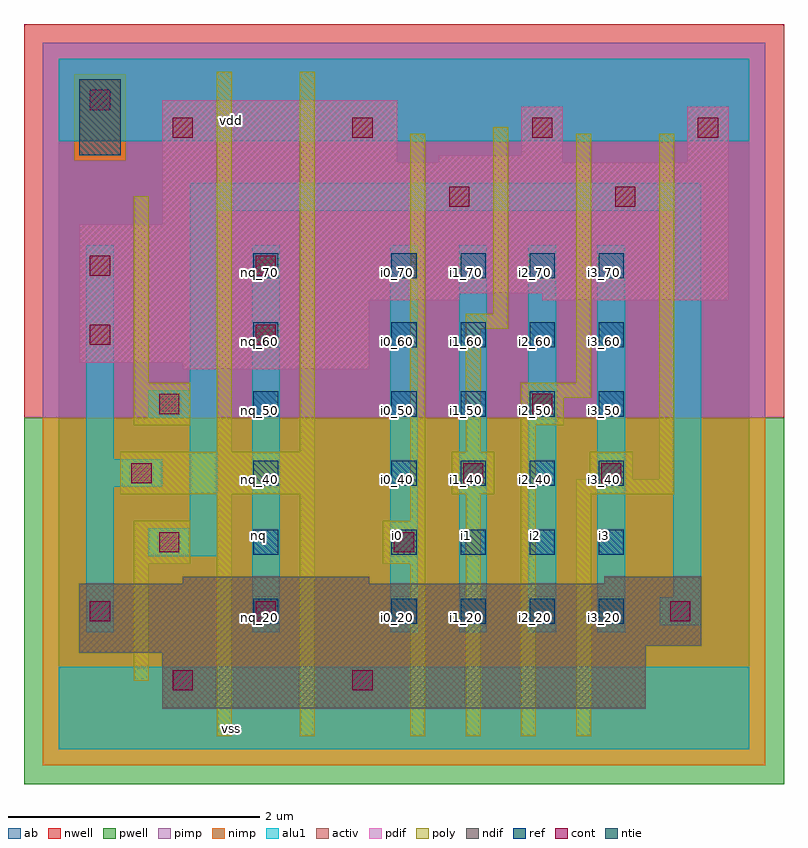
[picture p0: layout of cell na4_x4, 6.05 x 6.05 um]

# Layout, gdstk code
import gdstk
lib = gdstk.Library(unit=1e-6, precision=2.5e-09)
def R(c, l, rs):  # rectangles x0, y0, x1, y1
    for r in rs: c.add(gdstk.rectangle(r[:2], r[2:], *l))
def A(c, l, x, y, w, h, nx, ny, dx, dy):  # array of equal rectangles
    R(c, l, [(x+i*dx, y+j*dy, x+i*dx+w, y+j*dy+h) for i in range(nx) for j in range(ny)])
ndif = (3, 0)
pdif = (4, 0)
ntie = (5, 0)
ref = (24, 0)
cont = (25, 0)
pwell = (41, 0)
nwell = (42, 0)
activ = (43, 0)
pimp = (44, 0)
nimp = (45, 0)
poly = (46, 0)
alu1 = (49, 0)
ab = (63, 0)

na4_x4 = lib.new_cell('na4_x4')
R(na4_x4, ndif, [(0.825,0.33,4.675,0.77), (0.165,0.77,4.675,0.825), (0.165,0.825,5.115,1.32), (0.99,1.32,2.475,1.375), (4.345,1.32,5.115,1.375)])
R(na4_x4, pdif, [(0.99,3.025,2.475,3.08), (0.165,3.08,2.475,3.575), (0.165,3.575,3.19,3.63), (3.85,3.575,5.335,3.63), (0.165,3.63,5.335,4.18), (0.825,4.18,5.335,4.675), (0.825,4.675,2.695,5.17), (3.025,4.675,4.015,4.73), (5.005,4.675,5.335,5.115), (3.685,4.73,4.015,5.115)])
R(na4_x4, ntie, [(0.165,4.73,0.495,5.335)])
A(na4_x4, ref, 1.55, 1, 0.2, 0.2, 1, 6, 0, 0.55)
A(na4_x4, ref, 2.65, 1, 0.2, 0.2, 4, 6, 0.55, 0.55)
A(na4_x4, cont, 0.91, 4.87, 0.16, 0.16, 3, 1, 1.43, 0)
R(na4_x4, cont, [(0.91,0.47,1.07,0.63), (2.34,0.47,2.5,0.63), (0.25,1.02,0.41,1.18), (1.57,1.02,1.73,1.18), (4.87,1.02,5.03,1.18), (0.8,1.57,0.96,1.73), (2.67,1.57,2.83,1.73), (0.58,2.12,0.74,2.28), (3.22,2.12,3.38,2.28), (4.32,2.12,4.48,2.28), (0.8,2.67,0.96,2.83), (3.77,2.67,3.93,2.83), (0.25,3.22,0.41,3.38), (1.57,3.22,1.73,3.38), (0.25,3.77,0.41,3.93), (1.57,3.77,1.73,3.93), (3.11,4.32,3.27,4.48), (4.43,4.32,4.59,4.48), (5.09,4.87,5.25,5.03), (0.25,5.09,0.41,5.25)])
R(na4_x4, pwell, [(-0.275,-0.275,5.775,2.64)])
R(na4_x4, nwell, [(-0.275,2.64,5.775,5.775)])
R(na4_x4, activ, [(0.825,0.33,4.675,0.77), (0.165,0.77,4.675,0.825), (0.165,0.825,5.115,1.32), (0.99,1.32,2.475,1.375), (4.345,1.32,5.115,1.375), (0.99,3.025,2.475,3.08), (0.165,3.08,2.475,3.575), (0.165,3.575,3.19,3.63), (3.85,3.575,5.335,3.63), (0.165,3.63,5.335,4.18), (0.825,4.18,5.335,4.675), (0.825,4.675,2.695,5.17), (3.025,4.675,4.015,4.73), (5.005,4.675,5.335,5.115), (0.165,4.73,0.495,5.335), (3.685,4.73,4.015,5.115)])
R(na4_x4, pimp, [(-0.125,2.64,5.625,4.69), (-0.125,4.69,0.125,5.375), (0.535,4.69,5.625,5.375), (-0.125,5.375,5.625,5.625)])
R(na4_x4, nimp, [(-0.125,-0.125,5.625,2.64), (0.125,4.69,0.535,5.375)])
R(na4_x4, poly, [(1.26,0.105,1.38,2.03), (1.92,0.105,2.04,2.03), (2.8,0.105,2.92,1.48), (3.24,0.105,3.36,2.03), (3.68,0.105,3.8,2.58), (4.12,0.105,4.24,2.03), (0.6,0.545,0.72,1.48), (0.6,1.48,1.05,1.82), (2.58,1.48,2.92,1.82), (2.8,1.82,2.92,4.9), (0.49,2.03,2.04,2.37), (3.13,2.03,3.47,2.37), (4.12,2.03,4.9,2.15), (4.23,2.15,4.57,2.37), (4.78,2.15,4.9,4.9), (1.26,2.37,1.38,5.395), (1.92,2.37,2.04,5.395), (3.24,2.37,3.36,3.35), (0.6,2.58,1.05,2.92), (3.68,2.58,4.02,2.8), (3.68,2.8,4.24,2.92), (0.6,2.92,0.72,4.405), (4.12,2.92,4.24,4.9), (3.24,3.35,3.58,3.47), (3.46,3.47,3.58,4.955)])
A(na4_x4, alu1, 2.64, 0.935, 0.22, 3.08, 4, 1, 0.55, 0)
R(na4_x4, alu1, [(0,0,5.5,0.66), (0.22,0.935,0.44,2.09), (1.54,0.935,1.76,4.015), (4.785,0.99,5.115,1.21), (4.895,1.21,5.115,4.29), (0.715,1.54,1.265,1.76), (1.045,1.76,1.265,2.64), (0.22,2.09,0.825,2.31), (0.22,2.31,0.44,4.015), (0.715,2.64,1.265,2.86), (1.045,2.86,1.265,4.29), (1.045,4.29,5.115,4.51), (0,4.84,5.5,5.5)])
R(na4_x4, ab, [(0,0,5.5,5.5)])
na4_x4.add(gdstk.Label('vss', (1.375,0.165), layer=49, texttype=0))
na4_x4.add(gdstk.Label('i3', (4.345,1.705), layer=49, texttype=0))
na4_x4.add(gdstk.Label('i2', (3.795,1.705), layer=49, texttype=0))
na4_x4.add(gdstk.Label('i1', (3.245,1.705), layer=49, texttype=0))
na4_x4.add(gdstk.Label('i0', (2.695,1.705), layer=49, texttype=0))
na4_x4.add(gdstk.Label('nq', (1.595,1.705), layer=49, texttype=0))
na4_x4.add(gdstk.Label('vdd', (1.375,5.005), layer=49, texttype=0))
na4_x4.add(gdstk.Label('nq_20', (1.6,1.05), layer=24, texttype=0))
na4_x4.add(gdstk.Label('nq_70', (1.6,3.8), layer=24, texttype=0))
na4_x4.add(gdstk.Label('nq_60', (1.6,3.25), layer=24, texttype=0))
na4_x4.add(gdstk.Label('nq_50', (1.6,2.7), layer=24, texttype=0))
na4_x4.add(gdstk.Label('nq_40', (1.6,2.15), layer=24, texttype=0))
na4_x4.add(gdstk.Label('nq_30', (1.6,1.6), layer=24, texttype=0))
na4_x4.add(gdstk.Label('i2_30', (3.8,1.6), layer=24, texttype=0))
na4_x4.add(gdstk.Label('i2_20', (3.8,1.05), layer=24, texttype=0))
na4_x4.add(gdstk.Label('i3_20', (4.35,1.05), layer=24, texttype=0))
na4_x4.add(gdstk.Label('i3_30', (4.35,1.6), layer=24, texttype=0))
na4_x4.add(gdstk.Label('i3_40', (4.35,2.15), layer=24, texttype=0))
na4_x4.add(gdstk.Label('i3_50', (4.35,2.7), layer=24, texttype=0))
na4_x4.add(gdstk.Label('i3_60', (4.35,3.25), layer=24, texttype=0))
na4_x4.add(gdstk.Label('i3_70', (4.35,3.8), layer=24, texttype=0))
na4_x4.add(gdstk.Label('i1_40', (3.25,2.15), layer=24, texttype=0))
na4_x4.add(gdstk.Label('i1_50', (3.25,2.7), layer=24, texttype=0))
na4_x4.add(gdstk.Label('i1_60', (3.25,3.25), layer=24, texttype=0))
na4_x4.add(gdstk.Label('i1_70', (3.25,3.8), layer=24, texttype=0))
na4_x4.add(gdstk.Label('i2_70', (3.8,3.8), layer=24, texttype=0))
na4_x4.add(gdstk.Label('i2_60', (3.8,3.25), layer=24, texttype=0))
na4_x4.add(gdstk.Label('i2_50', (3.8,2.7), layer=24, texttype=0))
na4_x4.add(gdstk.Label('i2_40', (3.8,2.15), layer=24, texttype=0))
na4_x4.add(gdstk.Label('i0_30', (2.7,1.6), layer=24, texttype=0))
na4_x4.add(gdstk.Label('i0_40', (2.7,2.15), layer=24, texttype=0))
na4_x4.add(gdstk.Label('i0_50', (2.7,2.7), layer=24, texttype=0))
na4_x4.add(gdstk.Label('i0_60', (2.7,3.25), layer=24, texttype=0))
na4_x4.add(gdstk.Label('i0_70', (2.7,3.8), layer=24, texttype=0))
na4_x4.add(gdstk.Label('i0_20', (2.7,1.05), layer=24, texttype=0))
na4_x4.add(gdstk.Label('i1_20', (3.25,1.05), layer=24, texttype=0))
na4_x4.add(gdstk.Label('i1_30', (3.25,1.6), layer=24, texttype=0))

lib.write_gds('na4_x4.gds')
